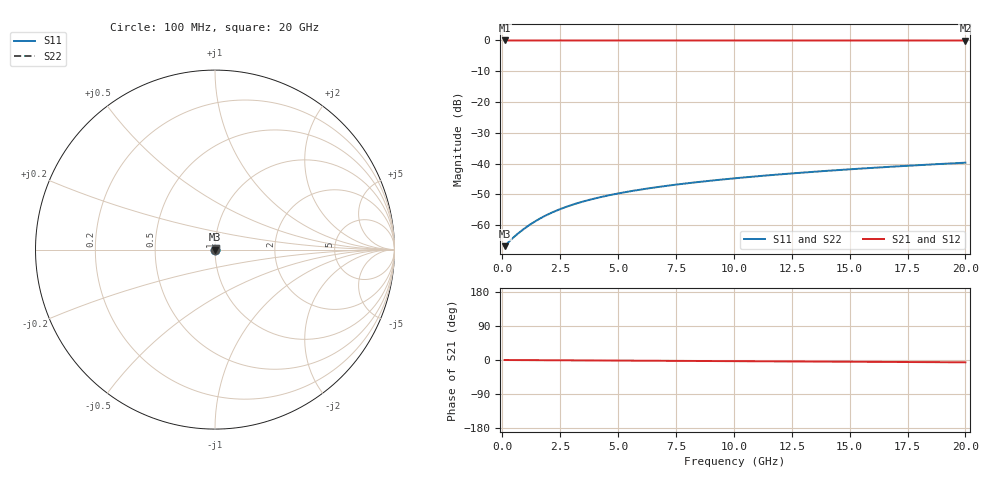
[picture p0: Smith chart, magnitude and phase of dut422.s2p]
! Touchstone file exported from HFSS 2026.1.0
!  File:  C:/ffzhzh/LocalFiles/Ansys_Project_Files/temp_train_TSV_422_1783020916_51716.aedt
!  Generated:  03:36:56 AM Jul  3, 2026
!  Design:  TSV
!  Project:  temp_train_TSV_422_1783020916_51716
! Variables:
!  h_bsmrdl = 2um
!  h_ox = 20um
!  h_rdl = 5um
!  h_sub = 63.96um
!  h_tmrdl = 5um
!  h_tsv = 63.96um
!  h_via = 3um
!  l_bsmrdl = 300um
!  l_sub = 408.44um
!  l_tmrdl = 200um
!  m_sub = 200um
!  pitch = 19.43um
!  r_tsv = 4.22um
!  s_tmrdl = 10um
!  w_bsmrdl = 18um
!  w_sub = 500um
!  w_tmrdl = 12um
!  x_tsv_center1 = 206um
!  x_tsv_center2 = 524um
!  x_tsv_center3 = 736um
!  x_tsv_center4 = 1054um
!  x_tsv_center5 = 1266um
!  x_tsv_center6 = 1584um
# GHz S MA R 50.000000
! Terminal data exported
! Port[1] = TSV1_1_T1
! Port[2] = TSV1_1_T2
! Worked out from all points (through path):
!   200 points, 100 MHz to 20 GHz, reference 50 ohm
!   highest |S21| = 0.00 dB at 100 MHz (marker M1); lowest = 0.0 dB at 20 GHz (marker M2)
!   lowest |S11| = -66.8 dB at 100 MHz (marker M3), VSWR 1.00, Z = 50 + j0.00943 ohm
!   |S11| at or under -10 dB: start of sweep to end of sweep
!   |S22| runs from -66.8 to -39.7 dB; largest |S21 - S12| = 3.3e-15
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0.1  0.0004571 11.9  0.9996 -0.0  0.9996 -0.0  0.0004571 11.9
! Gamma 0 0 0 0
! Port Impedance 50 0 50 0
0.4  0.0005946 32.9  0.9995 -0.1  0.9995 -0.1  0.0005946 33.0
0.6  0.0006935 41.1  0.9995 -0.2  0.9995 -0.2  0.0006935 41.1
0.8  0.0007979 47.3  0.9995 -0.3  0.9995 -0.3  0.0007979 47.3
1  0.0009089 52.1  0.9994 -0.3  0.9994 -0.3  0.000909 52.1
1.2  0.001025 55.8  0.9994 -0.4  0.9994 -0.4  0.001025 55.8
1.6  0.001268 60.9  0.9994 -0.5  0.9994 -0.5  0.001268 60.9
2  0.001517 64.1  0.9993 -0.6  0.9993 -0.6  0.001517 64.1
2.5  0.001828 66.5  0.9993 -0.8  0.9993 -0.8  0.001828 66.5
3  0.002134 68.0  0.9992 -0.9  0.9992 -0.9  0.002134 68.0
3.5  0.002432 68.8  0.9992 -1.1  0.9992 -1.1  0.002432 68.8
4.2  0.002836 69.6  0.9991 -1.3  0.9991 -1.3  0.002836 69.6
5  0.003279 70.0  0.999 -1.6  0.999 -1.6  0.003279 70.0
5.8  0.003703 70.4  0.9989 -1.8  0.9989 -1.8  0.003703 70.4
6.8  0.004214 70.6  0.9987 -2.1  0.9987 -2.1  0.004214 70.7
8.3  0.004952 71.0  0.9986 -2.6  0.9986 -2.6  0.004952 71.0
10.1  0.005811 71.4  0.9984 -3.1  0.9984 -3.1  0.005811 71.4
11.7  0.006562 71.7  0.9983 -3.6  0.9983 -3.6  0.006562 71.7
13.4  0.007353 71.9  0.9982 -4.1  0.9982 -4.1  0.007352 71.9
15  0.008091 71.9  0.9981 -4.6  0.9981 -4.6  0.008091 71.9
16.7  0.00887 71.9  0.998 -5.1  0.998 -5.1  0.00887 71.9
20  0.01036 71.7  0.9978 -6.1  0.9978 -6.1  0.01036 71.7
